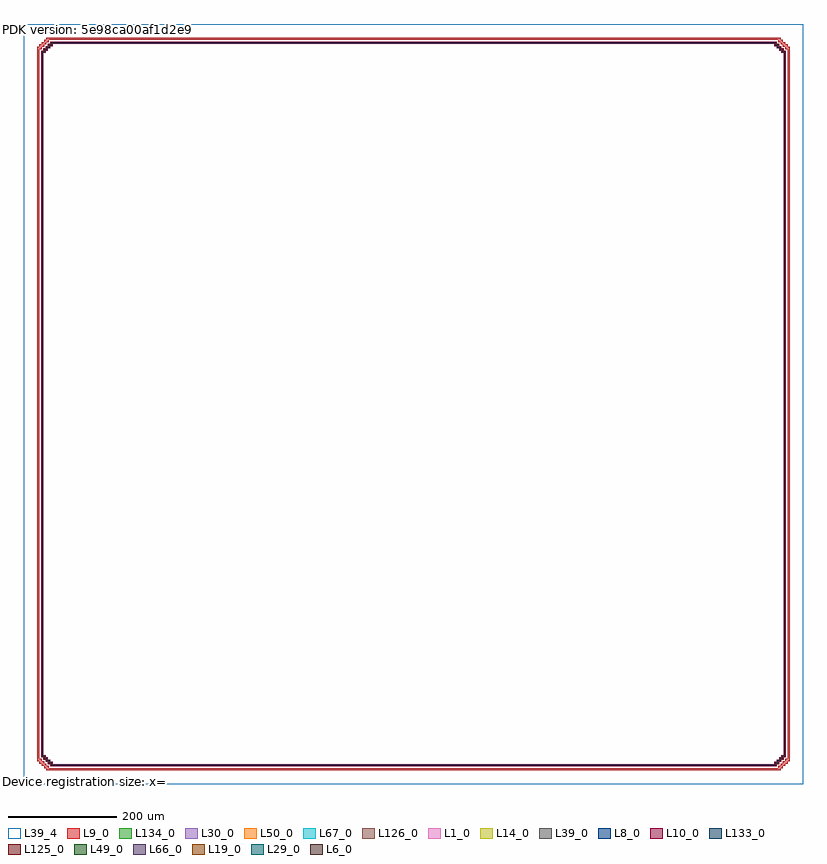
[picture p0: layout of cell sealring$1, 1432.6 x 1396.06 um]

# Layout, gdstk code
import gdstk
lib = gdstk.Library(unit=1e-6, precision=1e-09)
def R(c, l, rs):  # rectangles x0, y0, x1, y1
    for r in rs: c.add(gdstk.rectangle(r[:2], r[2:], *l))
def P(c, l, *ps):  # polygons
    for p in ps: c.add(gdstk.Polygon(p, *l))
L1_0 = (1, 0)
L6_0 = (6, 0)
L8_0 = (8, 0)
L9_0 = (9, 0)
L10_0 = (10, 0)
L14_0 = (14, 0)
L19_0 = (19, 0)
L29_0 = (29, 0)
L30_0 = (30, 0)
L39_0 = (39, 0)
L39_4 = (39, 4)
L49_0 = (49, 0)
L50_0 = (50, 0)
L66_0 = (66, 0)
L67_0 = (67, 0)
L125_0 = (125, 0)
L126_0 = (126, 0)
L133_0 = (133, 0)
L134_0 = (134, 0)

sealring_1 = lib.new_cell('sealring$1')
R(sealring_1, L1_0, [(49,32.2,53.2,40.6), (53.2,32.2,1379.4,36.4), (1379.4,32.2,1383.6,36.4), (44.8,36.4,49,44.8), (1379.4,36.4,1387.8,40.6), (40.6,40.6,44.8,49), (1383.6,40.6,1392,44.8), (36.4,44.8,40.6,53.2), (1387.8,44.8,1396.2,49), (32.2,49,36.4,53.2), (1392,49,1400.4,53.2), (32.2,53.2,36.4,1342.86), (1396.2,53.2,1400.4,1342.86), (32.2,1342.86,40.6,1347.06), (1392,1342.86,1396.2,1351.26), (1396.2,1342.86,1400.4,1347.06), (36.4,1347.06,44.8,1351.26), (1387.8,1347.06,1392,1355.46), (40.6,1351.26,49,1355.46), (1383.6,1351.26,1387.8,1359.66), (44.8,1355.46,53.2,1359.66), (1379.4,1355.46,1383.6,1363.86), (49,1359.66,53.2,1363.86), (53.2,1359.66,1379.4,1363.86)])
R(sealring_1, L6_0, [(53.2,34.2,1379.4,34.36), (34.2,53.2,34.36,1342.86), (1398.24,53.2,1398.4,1342.86), (53.2,1361.7,1379.4,1361.86)])
P(sealring_1, L6_0, [(1398.24,1342.86),(1398.24,1344.9),(1394.04,1344.9),(1394.04,1349.1),(1389.84,1349.1),(1389.84,1353.3),(1385.64,1353.3),(1385.64,1357.5),(1381.44,1357.5),(1381.44,1361.7),(1379.4,1361.7),(1379.4,1361.86),(1381.6,1361.86),(1381.6,1357.66),(1385.8,1357.66),(1385.8,1353.46),(1390,1353.46),(1390,1349.26),(1394.2,1349.26),(1394.2,1345.06),(1398.4,1345.06),(1398.4,1342.86)],
  [(51,34.2),(51,38.4),(46.8,38.4),(46.8,42.6),(42.6,42.6),(42.6,46.8),(38.4,46.8),(38.4,51),(34.2,51),(34.2,53.2),(34.36,53.2),(34.36,51.16),(38.56,51.16),(38.56,46.96),(42.76,46.96),(42.76,42.76),(46.96,42.76),(46.96,38.56),(51.16,38.56),(51.16,34.36),(53.2,34.36),(53.2,34.2)],
  [(1379.4,34.2),(1379.4,34.36),(1381.44,34.36),(1381.44,38.56),(1385.64,38.56),(1385.64,42.76),(1389.84,42.76),(1389.84,46.96),(1394.04,46.96),(1394.04,51.16),(1398.24,51.16),(1398.24,53.2),(1398.4,53.2),(1398.4,51),(1394.2,51),(1394.2,46.8),(1390,46.8),(1390,42.6),(1385.8,42.6),(1385.8,38.4),(1381.6,38.4),(1381.6,34.2)],
  [(34.2,1342.86),(34.2,1345.06),(38.4,1345.06),(38.4,1349.26),(42.6,1349.26),(42.6,1353.46),(46.8,1353.46),(46.8,1357.66),(51,1357.66),(51,1361.86),(53.2,1361.86),(53.2,1361.7),(51.16,1361.7),(51.16,1357.5),(46.96,1357.5),(46.96,1353.3),(42.76,1353.3),(42.76,1349.1),(38.56,1349.1),(38.56,1344.9),(34.36,1344.9),(34.36,1342.86)])
R(sealring_1, L8_0, [(49,32.2,53.2,40.6), (53.2,32.2,1379.4,36.4), (1379.4,32.2,1383.6,36.4), (44.8,36.4,49,44.8), (1379.4,36.4,1387.8,40.6), (40.6,40.6,44.8,49), (1383.6,40.6,1392,44.8), (36.4,44.8,40.6,53.2), (1387.8,44.8,1396.2,49), (32.2,49,36.4,53.2), (1392,49,1400.4,53.2), (32.2,53.2,36.4,1342.86), (1396.2,53.2,1400.4,1342.86), (32.2,1342.86,40.6,1347.06), (1392,1342.86,1396.2,1351.26), (1396.2,1342.86,1400.4,1347.06), (36.4,1347.06,44.8,1351.26), (1387.8,1347.06,1392,1355.46), (40.6,1351.26,49,1355.46), (1383.6,1351.26,1387.8,1359.66), (44.8,1355.46,53.2,1359.66), (1379.4,1355.46,1383.6,1363.86), (49,1359.66,53.2,1363.86), (53.2,1359.66,1379.4,1363.86)])
R(sealring_1, L9_0, [(53.2,25,1379.4,29.2), (25,53.2,29.2,1342.86), (1403.4,53.2,1407.6,1342.86), (53.2,1366.86,1379.4,1371.06)])
P(sealring_1, L9_0, [(41.8,25),(41.8,29.2),(37.6,29.2),(37.6,33.4),(33.4,33.4),(33.4,37.6),(29.2,37.6),(29.2,41.8),(25,41.8),(25,53.2),(29.2,53.2),(29.2,46),(33.4,46),(33.4,41.8),(37.6,41.8),(37.6,37.6),(41.8,37.6),(41.8,33.4),(46,33.4),(46,29.2),(78.2,29.2),(78.2,25)],
  [(1403.4,1342.86),(1403.4,1350.06),(1399.2,1350.06),(1399.2,1354.26),(1395,1354.26),(1395,1358.46),(1390.8,1358.46),(1390.8,1362.66),(1386.6,1362.66),(1386.6,1366.86),(1354.4,1366.86),(1354.4,1371.06),(1390.8,1371.06),(1390.8,1366.86),(1395,1366.86),(1395,1362.66),(1399.2,1362.66),(1399.2,1358.46),(1403.4,1358.46),(1403.4,1354.26),(1407.6,1354.26),(1407.6,1342.86)],
  [(1379.4,25),(1379.4,29.2),(1386.6,29.2),(1386.6,33.4),(1390.8,33.4),(1390.8,37.6),(1395,37.6),(1395,41.8),(1399.2,41.8),(1399.2,46),(1403.4,46),(1403.4,78.2),(1407.6,78.2),(1407.6,41.8),(1403.4,41.8),(1403.4,37.6),(1399.2,37.6),(1399.2,33.4),(1395,33.4),(1395,29.2),(1390.8,29.2),(1390.8,25)],
  [(25,1317.86),(25,1354.26),(29.2,1354.26),(29.2,1358.46),(33.4,1358.46),(33.4,1362.66),(37.6,1362.66),(37.6,1366.86),(41.8,1366.86),(41.8,1371.06),(53.2,1371.06),(53.2,1366.86),(46,1366.86),(46,1362.66),(41.8,1362.66),(41.8,1358.46),(37.6,1358.46),(37.6,1354.26),(33.4,1354.26),(33.4,1350.06),(29.2,1350.06),(29.2,1317.86)])
R(sealring_1, L10_0, [(49,32.2,53.2,40.6), (53.2,32.2,1379.4,36.4), (1379.4,32.2,1383.6,36.4), (44.8,36.4,49,44.8), (1379.4,36.4,1387.8,40.6), (40.6,40.6,44.8,49), (1383.6,40.6,1392,44.8), (36.4,44.8,40.6,53.2), (1387.8,44.8,1396.2,49), (32.2,49,36.4,53.2), (1392,49,1400.4,53.2), (32.2,53.2,36.4,1342.86), (1396.2,53.2,1400.4,1342.86), (32.2,1342.86,40.6,1347.06), (1392,1342.86,1396.2,1351.26), (1396.2,1342.86,1400.4,1347.06), (36.4,1347.06,44.8,1351.26), (1387.8,1347.06,1392,1355.46), (40.6,1351.26,49,1355.46), (1383.6,1351.26,1387.8,1359.66), (44.8,1355.46,53.2,1359.66), (1379.4,1355.46,1383.6,1363.86), (49,1359.66,53.2,1363.86), (53.2,1359.66,1379.4,1363.86)])
R(sealring_1, L14_0, [(49,32.2,53.2,40.6), (53.2,32.2,1379.4,36.4), (1379.4,32.2,1383.6,36.4), (44.8,36.4,49,44.8), (1379.4,36.4,1387.8,40.6), (40.6,40.6,44.8,49), (1383.6,40.6,1392,44.8), (36.4,44.8,40.6,53.2), (1387.8,44.8,1396.2,49), (32.2,49,36.4,53.2), (1392,49,1400.4,53.2), (32.2,53.2,36.4,1342.86), (1396.2,53.2,1400.4,1342.86), (32.2,1342.86,40.6,1347.06), (1392,1342.86,1396.2,1351.26), (1396.2,1342.86,1400.4,1347.06), (36.4,1347.06,44.8,1351.26), (1387.8,1347.06,1392,1355.46), (40.6,1351.26,49,1355.46), (1383.6,1351.26,1387.8,1359.66), (44.8,1355.46,53.2,1359.66), (1379.4,1355.46,1383.6,1363.86), (49,1359.66,53.2,1363.86), (53.2,1359.66,1379.4,1363.86)])
R(sealring_1, L19_0, [(53.2,34.2,1379.4,34.39), (34.2,53.2,34.39,1342.86), (1398.21,53.2,1398.4,1342.86), (53.2,1361.67,1379.4,1361.86)])
P(sealring_1, L19_0, [(1398.21,1342.86),(1398.21,1344.87),(1394.01,1344.87),(1394.01,1349.07),(1389.81,1349.07),(1389.81,1353.27),(1385.61,1353.27),(1385.61,1357.47),(1381.41,1357.47),(1381.41,1361.67),(1379.4,1361.67),(1379.4,1361.86),(1381.6,1361.86),(1381.6,1357.66),(1385.8,1357.66),(1385.8,1353.46),(1390,1353.46),(1390,1349.26),(1394.2,1349.26),(1394.2,1345.06),(1398.4,1345.06),(1398.4,1342.86)],
  [(51,34.2),(51,38.4),(46.8,38.4),(46.8,42.6),(42.6,42.6),(42.6,46.8),(38.4,46.8),(38.4,51),(34.2,51),(34.2,53.2),(34.39,53.2),(34.39,51.19),(38.59,51.19),(38.59,46.99),(42.79,46.99),(42.79,42.79),(46.99,42.79),(46.99,38.59),(51.19,38.59),(51.19,34.39),(53.2,34.39),(53.2,34.2)],
  [(1379.4,34.2),(1379.4,34.39),(1381.41,34.39),(1381.41,38.59),(1385.61,38.59),(1385.61,42.79),(1389.81,42.79),(1389.81,46.99),(1394.01,46.99),(1394.01,51.19),(1398.21,51.19),(1398.21,53.2),(1398.4,53.2),(1398.4,51),(1394.2,51),(1394.2,46.8),(1390,46.8),(1390,42.6),(1385.8,42.6),(1385.8,38.4),(1381.6,38.4),(1381.6,34.2)],
  [(34.2,1342.86),(34.2,1345.06),(38.4,1345.06),(38.4,1349.26),(42.6,1349.26),(42.6,1353.46),(46.8,1353.46),(46.8,1357.66),(51,1357.66),(51,1361.86),(53.2,1361.86),(53.2,1361.67),(51.19,1361.67),(51.19,1357.47),(46.99,1357.47),(46.99,1353.27),(42.79,1353.27),(42.79,1349.07),(38.59,1349.07),(38.59,1344.87),(34.39,1344.87),(34.39,1342.86)])
R(sealring_1, L29_0, [(53.2,34.2,1379.4,34.39), (34.2,53.2,34.39,1342.86), (1398.21,53.2,1398.4,1342.86), (53.2,1361.67,1379.4,1361.86)])
P(sealring_1, L29_0, [(1398.21,1342.86),(1398.21,1344.87),(1394.01,1344.87),(1394.01,1349.07),(1389.81,1349.07),(1389.81,1353.27),(1385.61,1353.27),(1385.61,1357.47),(1381.41,1357.47),(1381.41,1361.67),(1379.4,1361.67),(1379.4,1361.86),(1381.6,1361.86),(1381.6,1357.66),(1385.8,1357.66),(1385.8,1353.46),(1390,1353.46),(1390,1349.26),(1394.2,1349.26),(1394.2,1345.06),(1398.4,1345.06),(1398.4,1342.86)],
  [(51,34.2),(51,38.4),(46.8,38.4),(46.8,42.6),(42.6,42.6),(42.6,46.8),(38.4,46.8),(38.4,51),(34.2,51),(34.2,53.2),(34.39,53.2),(34.39,51.19),(38.59,51.19),(38.59,46.99),(42.79,46.99),(42.79,42.79),(46.99,42.79),(46.99,38.59),(51.19,38.59),(51.19,34.39),(53.2,34.39),(53.2,34.2)],
  [(1379.4,34.2),(1379.4,34.39),(1381.41,34.39),(1381.41,38.59),(1385.61,38.59),(1385.61,42.79),(1389.81,42.79),(1389.81,46.99),(1394.01,46.99),(1394.01,51.19),(1398.21,51.19),(1398.21,53.2),(1398.4,53.2),(1398.4,51),(1394.2,51),(1394.2,46.8),(1390,46.8),(1390,42.6),(1385.8,42.6),(1385.8,38.4),(1381.6,38.4),(1381.6,34.2)],
  [(34.2,1342.86),(34.2,1345.06),(38.4,1345.06),(38.4,1349.26),(42.6,1349.26),(42.6,1353.46),(46.8,1353.46),(46.8,1357.66),(51,1357.66),(51,1361.86),(53.2,1361.86),(53.2,1361.67),(51.19,1361.67),(51.19,1357.47),(46.99,1357.47),(46.99,1353.27),(42.79,1353.27),(42.79,1349.07),(38.59,1349.07),(38.59,1344.87),(34.39,1344.87),(34.39,1342.86)])
R(sealring_1, L30_0, [(49,32.2,53.2,40.6), (53.2,32.2,1379.4,36.4), (1379.4,32.2,1383.6,36.4), (44.8,36.4,49,44.8), (1379.4,36.4,1387.8,40.6), (40.6,40.6,44.8,49), (1383.6,40.6,1392,44.8), (36.4,44.8,40.6,53.2), (1387.8,44.8,1396.2,49), (32.2,49,36.4,53.2), (1392,49,1400.4,53.2), (32.2,53.2,36.4,1342.86), (1396.2,53.2,1400.4,1342.86), (32.2,1342.86,40.6,1347.06), (1392,1342.86,1396.2,1351.26), (1396.2,1342.86,1400.4,1347.06), (36.4,1347.06,44.8,1351.26), (1387.8,1347.06,1392,1355.46), (40.6,1351.26,49,1355.46), (1383.6,1351.26,1387.8,1359.66), (44.8,1355.46,53.2,1359.66), (1379.4,1355.46,1383.6,1363.86), (49,1359.66,53.2,1363.86), (53.2,1359.66,1379.4,1363.86)])
R(sealring_1, L39_0, [(49,32.2,53.2,40.6), (53.2,32.2,1379.4,36.4), (1379.4,32.2,1383.6,36.4), (44.8,36.4,49,44.8), (1379.4,36.4,1387.8,40.6), (40.6,40.6,44.8,49), (1383.6,40.6,1392,44.8), (36.4,44.8,40.6,53.2), (1387.8,44.8,1396.2,49), (32.2,49,36.4,53.2), (1392,49,1400.4,53.2), (32.2,53.2,36.4,1342.86), (1396.2,53.2,1400.4,1342.86), (32.2,1342.86,40.6,1347.06), (1392,1342.86,1396.2,1351.26), (1396.2,1342.86,1400.4,1347.06), (36.4,1347.06,44.8,1351.26), (1387.8,1347.06,1392,1355.46), (40.6,1351.26,49,1355.46), (1383.6,1351.26,1387.8,1359.66), (44.8,1355.46,53.2,1359.66), (1379.4,1355.46,1383.6,1363.86), (49,1359.66,53.2,1363.86), (53.2,1359.66,1379.4,1363.86)])
R(sealring_1, L39_4, [(0,0,1432.6,1396.06)])
R(sealring_1, L49_0, [(53.2,34.2,1379.4,34.39), (34.2,53.2,34.39,1342.86), (1398.21,53.2,1398.4,1342.86), (53.2,1361.67,1379.4,1361.86)])
P(sealring_1, L49_0, [(1398.21,1342.86),(1398.21,1344.87),(1394.01,1344.87),(1394.01,1349.07),(1389.81,1349.07),(1389.81,1353.27),(1385.61,1353.27),(1385.61,1357.47),(1381.41,1357.47),(1381.41,1361.67),(1379.4,1361.67),(1379.4,1361.86),(1381.6,1361.86),(1381.6,1357.66),(1385.8,1357.66),(1385.8,1353.46),(1390,1353.46),(1390,1349.26),(1394.2,1349.26),(1394.2,1345.06),(1398.4,1345.06),(1398.4,1342.86)],
  [(51,34.2),(51,38.4),(46.8,38.4),(46.8,42.6),(42.6,42.6),(42.6,46.8),(38.4,46.8),(38.4,51),(34.2,51),(34.2,53.2),(34.39,53.2),(34.39,51.19),(38.59,51.19),(38.59,46.99),(42.79,46.99),(42.79,42.79),(46.99,42.79),(46.99,38.59),(51.19,38.59),(51.19,34.39),(53.2,34.39),(53.2,34.2)],
  [(1379.4,34.2),(1379.4,34.39),(1381.41,34.39),(1381.41,38.59),(1385.61,38.59),(1385.61,42.79),(1389.81,42.79),(1389.81,46.99),(1394.01,46.99),(1394.01,51.19),(1398.21,51.19),(1398.21,53.2),(1398.4,53.2),(1398.4,51),(1394.2,51),(1394.2,46.8),(1390,46.8),(1390,42.6),(1385.8,42.6),(1385.8,38.4),(1381.6,38.4),(1381.6,34.2)],
  [(34.2,1342.86),(34.2,1345.06),(38.4,1345.06),(38.4,1349.26),(42.6,1349.26),(42.6,1353.46),(46.8,1353.46),(46.8,1357.66),(51,1357.66),(51,1361.86),(53.2,1361.86),(53.2,1361.67),(51.19,1361.67),(51.19,1357.47),(46.99,1357.47),(46.99,1353.27),(42.79,1353.27),(42.79,1349.07),(38.59,1349.07),(38.59,1344.87),(34.39,1344.87),(34.39,1342.86)])
R(sealring_1, L50_0, [(49,32.2,53.2,40.6), (53.2,32.2,1379.4,36.4), (1379.4,32.2,1383.6,36.4), (44.8,36.4,49,44.8), (1379.4,36.4,1387.8,40.6), (40.6,40.6,44.8,49), (1383.6,40.6,1392,44.8), (36.4,44.8,40.6,53.2), (1387.8,44.8,1396.2,49), (32.2,49,36.4,53.2), (1392,49,1400.4,53.2), (32.2,53.2,36.4,1342.86), (1396.2,53.2,1400.4,1342.86), (32.2,1342.86,40.6,1347.06), (1392,1342.86,1396.2,1351.26), (1396.2,1342.86,1400.4,1347.06), (36.4,1347.06,44.8,1351.26), (1387.8,1347.06,1392,1355.46), (40.6,1351.26,49,1355.46), (1383.6,1351.26,1387.8,1359.66), (44.8,1355.46,53.2,1359.66), (1379.4,1355.46,1383.6,1363.86), (49,1359.66,53.2,1363.86), (53.2,1359.66,1379.4,1363.86)])
R(sealring_1, L66_0, [(53.2,34.2,1379.4,34.39), (34.2,53.2,34.39,1342.86), (1398.21,53.2,1398.4,1342.86), (53.2,1361.67,1379.4,1361.86)])
P(sealring_1, L66_0, [(1398.21,1342.86),(1398.21,1344.87),(1394.01,1344.87),(1394.01,1349.07),(1389.81,1349.07),(1389.81,1353.27),(1385.61,1353.27),(1385.61,1357.47),(1381.41,1357.47),(1381.41,1361.67),(1379.4,1361.67),(1379.4,1361.86),(1381.6,1361.86),(1381.6,1357.66),(1385.8,1357.66),(1385.8,1353.46),(1390,1353.46),(1390,1349.26),(1394.2,1349.26),(1394.2,1345.06),(1398.4,1345.06),(1398.4,1342.86)],
  [(51,34.2),(51,38.4),(46.8,38.4),(46.8,42.6),(42.6,42.6),(42.6,46.8),(38.4,46.8),(38.4,51),(34.2,51),(34.2,53.2),(34.39,53.2),(34.39,51.19),(38.59,51.19),(38.59,46.99),(42.79,46.99),(42.79,42.79),(46.99,42.79),(46.99,38.59),(51.19,38.59),(51.19,34.39),(53.2,34.39),(53.2,34.2)],
  [(1379.4,34.2),(1379.4,34.39),(1381.41,34.39),(1381.41,38.59),(1385.61,38.59),(1385.61,42.79),(1389.81,42.79),(1389.81,46.99),(1394.01,46.99),(1394.01,51.19),(1398.21,51.19),(1398.21,53.2),(1398.4,53.2),(1398.4,51),(1394.2,51),(1394.2,46.8),(1390,46.8),(1390,42.6),(1385.8,42.6),(1385.8,38.4),(1381.6,38.4),(1381.6,34.2)],
  [(34.2,1342.86),(34.2,1345.06),(38.4,1345.06),(38.4,1349.26),(42.6,1349.26),(42.6,1353.46),(46.8,1353.46),(46.8,1357.66),(51,1357.66),(51,1361.86),(53.2,1361.86),(53.2,1361.67),(51.19,1361.67),(51.19,1357.47),(46.99,1357.47),(46.99,1353.27),(42.79,1353.27),(42.79,1349.07),(38.59,1349.07),(38.59,1344.87),(34.39,1344.87),(34.39,1342.86)])
R(sealring_1, L67_0, [(49,32.2,53.2,40.6), (53.2,32.2,1379.4,36.4), (1379.4,32.2,1383.6,36.4), (44.8,36.4,49,44.8), (1379.4,36.4,1387.8,40.6), (40.6,40.6,44.8,49), (1383.6,40.6,1392,44.8), (36.4,44.8,40.6,53.2), (1387.8,44.8,1396.2,49), (32.2,49,36.4,53.2), (1392,49,1400.4,53.2), (32.2,53.2,36.4,1342.86), (1396.2,53.2,1400.4,1342.86), (32.2,1342.86,40.6,1347.06), (1392,1342.86,1396.2,1351.26), (1396.2,1342.86,1400.4,1347.06), (36.4,1347.06,44.8,1351.26), (1387.8,1347.06,1392,1355.46), (40.6,1351.26,49,1355.46), (1383.6,1351.26,1387.8,1359.66), (44.8,1355.46,53.2,1359.66), (1379.4,1355.46,1383.6,1363.86), (49,1359.66,53.2,1363.86), (53.2,1359.66,1379.4,1363.86)])
R(sealring_1, L125_0, [(53.2,34.2,1379.4,34.62), (34.2,53.2,34.62,1342.86), (1397.98,53.2,1398.4,1342.86), (53.2,1361.44,1379.4,1361.86)])
P(sealring_1, L125_0, [(1397.98,1342.86),(1397.98,1344.64),(1393.78,1344.64),(1393.78,1348.84),(1389.58,1348.84),(1389.58,1353.04),(1385.38,1353.04),(1385.38,1357.24),(1381.18,1357.24),(1381.18,1361.44),(1379.4,1361.44),(1379.4,1361.86),(1381.6,1361.86),(1381.6,1357.66),(1385.8,1357.66),(1385.8,1353.46),(1390,1353.46),(1390,1349.26),(1394.2,1349.26),(1394.2,1345.06),(1398.4,1345.06),(1398.4,1342.86)],
  [(51,34.2),(51,38.4),(46.8,38.4),(46.8,42.6),(42.6,42.6),(42.6,46.8),(38.4,46.8),(38.4,51),(34.2,51),(34.2,53.2),(34.62,53.2),(34.62,51.42),(38.82,51.42),(38.82,47.22),(43.02,47.22),(43.02,43.02),(47.22,43.02),(47.22,38.82),(51.42,38.82),(51.42,34.62),(53.2,34.62),(53.2,34.2)],
  [(1379.4,34.2),(1379.4,34.62),(1381.18,34.62),(1381.18,38.82),(1385.38,38.82),(1385.38,43.02),(1389.58,43.02),(1389.58,47.22),(1393.78,47.22),(1393.78,51.42),(1397.98,51.42),(1397.98,53.2),(1398.4,53.2),(1398.4,51),(1394.2,51),(1394.2,46.8),(1390,46.8),(1390,42.6),(1385.8,42.6),(1385.8,38.4),(1381.6,38.4),(1381.6,34.2)],
  [(34.2,1342.86),(34.2,1345.06),(38.4,1345.06),(38.4,1349.26),(42.6,1349.26),(42.6,1353.46),(46.8,1353.46),(46.8,1357.66),(51,1357.66),(51,1361.86),(53.2,1361.86),(53.2,1361.44),(51.42,1361.44),(51.42,1357.24),(47.22,1357.24),(47.22,1353.04),(43.02,1353.04),(43.02,1348.84),(38.82,1348.84),(38.82,1344.64),(34.62,1344.64),(34.62,1342.86)])
R(sealring_1, L126_0, [(49,32.2,53.2,40.6), (53.2,32.2,1379.4,36.4), (1379.4,32.2,1383.6,36.4), (44.8,36.4,49,44.8), (1379.4,36.4,1387.8,40.6), (40.6,40.6,44.8,49), (1383.6,40.6,1392,44.8), (36.4,44.8,40.6,53.2), (1387.8,44.8,1396.2,49), (32.2,49,36.4,53.2), (1392,49,1400.4,53.2), (32.2,53.2,36.4,1342.86), (1396.2,53.2,1400.4,1342.86), (32.2,1342.86,40.6,1347.06), (1392,1342.86,1396.2,1351.26), (1396.2,1342.86,1400.4,1347.06), (36.4,1347.06,44.8,1351.26), (1387.8,1347.06,1392,1355.46), (40.6,1351.26,49,1355.46), (1383.6,1351.26,1387.8,1359.66), (44.8,1355.46,53.2,1359.66), (1379.4,1355.46,1383.6,1363.86), (49,1359.66,53.2,1363.86), (53.2,1359.66,1379.4,1363.86)])
R(sealring_1, L133_0, [(53.2,34.2,1379.4,35.1), (34.2,53.2,35.1,1342.86), (1397.5,53.2,1398.4,1342.86), (53.2,1360.96,1379.4,1361.86)])
P(sealring_1, L133_0, [(1397.5,1342.86),(1397.5,1344.16),(1393.3,1344.16),(1393.3,1348.36),(1389.1,1348.36),(1389.1,1352.56),(1384.9,1352.56),(1384.9,1356.76),(1380.7,1356.76),(1380.7,1360.96),(1379.4,1360.96),(1379.4,1361.86),(1381.6,1361.86),(1381.6,1357.66),(1385.8,1357.66),(1385.8,1353.46),(1390,1353.46),(1390,1349.26),(1394.2,1349.26),(1394.2,1345.06),(1398.4,1345.06),(1398.4,1342.86)],
  [(51,34.2),(51,38.4),(46.8,38.4),(46.8,42.6),(42.6,42.6),(42.6,46.8),(38.4,46.8),(38.4,51),(34.2,51),(34.2,53.2),(35.1,53.2),(35.1,51.9),(39.3,51.9),(39.3,47.7),(43.5,47.7),(43.5,43.5),(47.7,43.5),(47.7,39.3),(51.9,39.3),(51.9,35.1),(53.2,35.1),(53.2,34.2)],
  [(1379.4,34.2),(1379.4,35.1),(1380.7,35.1),(1380.7,39.3),(1384.9,39.3),(1384.9,43.5),(1389.1,43.5),(1389.1,47.7),(1393.3,47.7),(1393.3,51.9),(1397.5,51.9),(1397.5,53.2),(1398.4,53.2),(1398.4,51),(1394.2,51),(1394.2,46.8),(1390,46.8),(1390,42.6),(1385.8,42.6),(1385.8,38.4),(1381.6,38.4),(1381.6,34.2)],
  [(34.2,1342.86),(34.2,1345.06),(38.4,1345.06),(38.4,1349.26),(42.6,1349.26),(42.6,1353.46),(46.8,1353.46),(46.8,1357.66),(51,1357.66),(51,1361.86),(53.2,1361.86),(53.2,1360.96),(51.9,1360.96),(51.9,1356.76),(47.7,1356.76),(47.7,1352.56),(43.5,1352.56),(43.5,1348.36),(39.3,1348.36),(39.3,1344.16),(35.1,1344.16),(35.1,1342.86)])
R(sealring_1, L134_0, [(49,32.2,53.2,40.6), (53.2,32.2,1379.4,36.4), (1379.4,32.2,1383.6,36.4), (44.8,36.4,49,44.8), (1379.4,36.4,1387.8,40.6), (40.6,40.6,44.8,49), (1383.6,40.6,1392,44.8), (36.4,44.8,40.6,53.2), (1387.8,44.8,1396.2,49), (32.2,49,36.4,53.2), (1392,49,1400.4,53.2), (32.2,53.2,36.4,1342.86), (1396.2,53.2,1400.4,1342.86), (32.2,1342.86,40.6,1347.06), (1392,1342.86,1396.2,1351.26), (1396.2,1342.86,1400.4,1347.06), (36.4,1347.06,44.8,1351.26), (1387.8,1347.06,1392,1355.46), (40.6,1351.26,49,1355.46), (1383.6,1351.26,1387.8,1359.66), (44.8,1355.46,53.2,1359.66), (1379.4,1355.46,1383.6,1363.86), (49,1359.66,53.2,1363.86), (53.2,1359.66,1379.4,1363.86)])
sealring_1.add(gdstk.Label('Device registration size: x=1432.6 um ; y=1396.1 um\nCalculated area: 2.0e-06 sq mm', (5,5), layer=63, texttype=0))
sealring_1.add(gdstk.Label('PDK version: 5e98ca00af1d2e9b12b05a142f35f335d7c499ad', (5,1386.06), layer=63, texttype=0))

lib.write_gds('sealring_1.gds')
